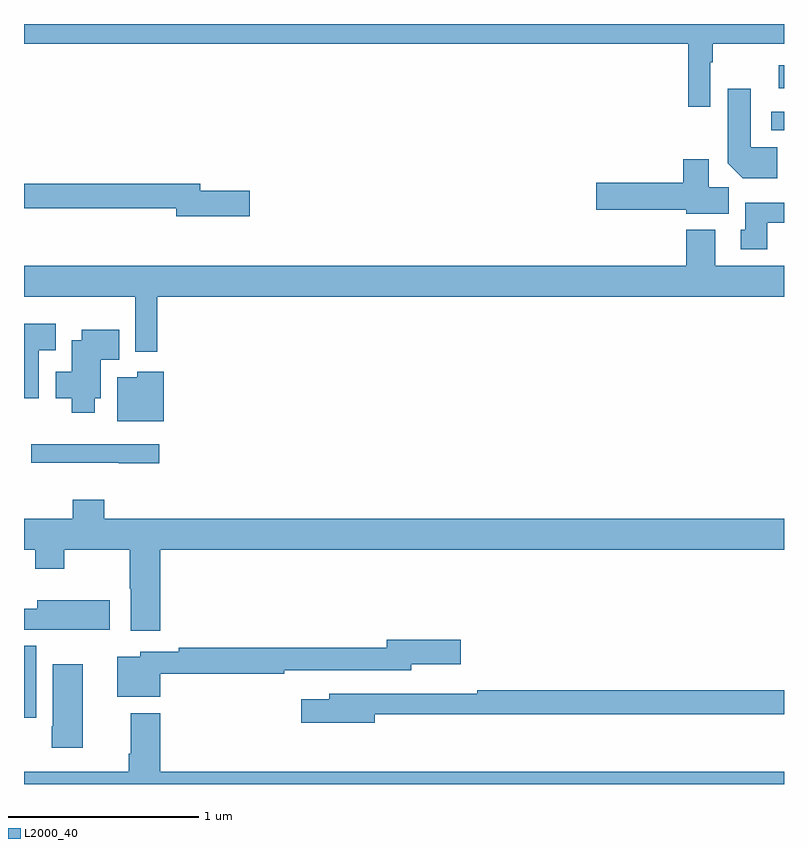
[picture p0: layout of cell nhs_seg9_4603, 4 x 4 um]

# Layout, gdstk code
import gdstk
lib = gdstk.Library(unit=1e-6, precision=1e-09)
def R(c, l, rs):  # rectangles x0, y0, x1, y1
    for r in rs: c.add(gdstk.rectangle(r[:2], r[2:], *l))
def P(c, l, *ps):  # polygons
    for p in ps: c.add(gdstk.Polygon(p, *l))
L2000_40 = (2000, 40)

nhs_seg9_4603 = lib.new_cell('nhs_seg9_4603')
R(nhs_seg9_4603, L2000_40, [(375,1216.848,375.064,1217.228), (378.933,1219.941,379,1220.037), (378.972,1220.162,379,1220.284)])
P(nhs_seg9_4603, L2000_40, [(378.612,1220.3),(378.625,1220.3),(378.625,1220.396),(379,1220.396),(379,1220.5),(375,1220.5),(375,1220.396),(378.496,1220.396),(378.496,1220.064),(378.612,1220.064)],
  [(378.965,1219.852),(378.826,1219.852),(378.826,1220.158),(378.704,1220.158),(378.704,1219.766),(378.782,1219.688),(378.965,1219.688)],
  [(378.709,1219.64),(378.604,1219.64),(378.604,1219.789),(378.47,1219.789),(378.47,1219.664),(378.012,1219.664),(378.012,1219.522),(378.486,1219.522),(378.486,1219.502),(378.709,1219.502)],
  [(376.189,1219.622),(375.928,1219.622),(375.928,1219.658),(375,1219.658),(375,1219.53),(375.8,1219.53),(375.8,1219.487),(376.189,1219.487)],
  [(378.913,1219.454),(379,1219.454),(379,1219.558),(378.797,1219.558),(378.797,1219.416),(378.773,1219.416),(378.773,1219.314),(378.913,1219.314)],
  [(375.701,1219.064),(379,1219.064),(379,1219.228),(378.637,1219.228),(378.637,1219.417),(378.485,1219.417),(378.485,1219.228),(375,1219.228),(375,1219.064),(375.585,1219.064),(375.585,1218.774),(375.701,1218.774)],
  [(375.078,1218.782),(375.166,1218.782),(375.166,1218.922),(375,1218.922),(375,1218.53),(375.078,1218.53)],
  [(375.373,1218.53),(375.403,1218.53),(375.403,1218.734),(375.5,1218.734),(375.5,1218.892),(375.305,1218.892),(375.305,1218.835),(375.251,1218.835),(375.251,1218.67),(375.167,1218.67),(375.167,1218.53),(375.251,1218.53),(375.251,1218.455),(375.373,1218.455)],
  [(375.736,1218.67),(375.596,1218.67),(375.596,1218.64),(375.491,1218.64),(375.491,1218.41),(375.736,1218.41)],
  [(375.712,1218.288),(375.369,1218.288),(375.369,1218.289),(375.039,1218.289),(375.039,1218.191),(375.499,1218.191),(375.499,1218.187),(375.712,1218.187)],
  [(375.422,1217.995),(375.257,1217.995),(375.257,1217.896),(375,1217.896),(375,1217.732),(375.058,1217.732),(375.058,1217.633),(375.213,1217.633),(375.213,1217.732),(375.556,1217.732),(375.556,1217.528),(375.563,1217.528),(375.563,1217.307),(375.716,1217.307),(375.716,1217.732),(379,1217.732),(379,1217.896),(375.422,1217.896)],
  [(375.451,1217.467),(375.071,1217.467),(375.071,1217.422),(375,1217.422),(375,1217.313),(375.175,1217.313),(375.175,1217.312),(375.451,1217.312)],
  [(375.718,1217.08),(376.37,1217.08),(376.37,1217.1),(377.038,1217.1),(377.038,1217.129),(377.299,1217.129),(377.299,1217.259),(376.91,1217.259),(376.91,1217.216),(375.814,1217.216),(375.814,1217.196),(375.612,1217.196),(375.612,1217.17),(375.491,1217.17),(375.491,1216.958),(375.718,1216.958)],
  [(375.31,1217.131),(375.152,1217.131),(375.152,1216.804),(375.145,1216.804),(375.145,1216.692),(375.31,1216.692)],
  [(376.846,1216.866),(379,1216.866),(379,1216.994),(377.386,1216.994),(377.386,1216.975),(377.134,1216.975),(377.134,1216.974),(376.607,1216.974),(376.607,1216.945),(376.458,1216.945),(376.458,1216.823),(376.846,1216.823)],
  [(379,1216.564),(375.716,1216.564),(375.716,1216.873),(375.563,1216.873),(375.563,1216.66),(375.551,1216.66),(375.551,1216.564),(375,1216.564),(375,1216.5),(379,1216.5)])

lib.write_gds('nhs_seg9_4603.gds')
